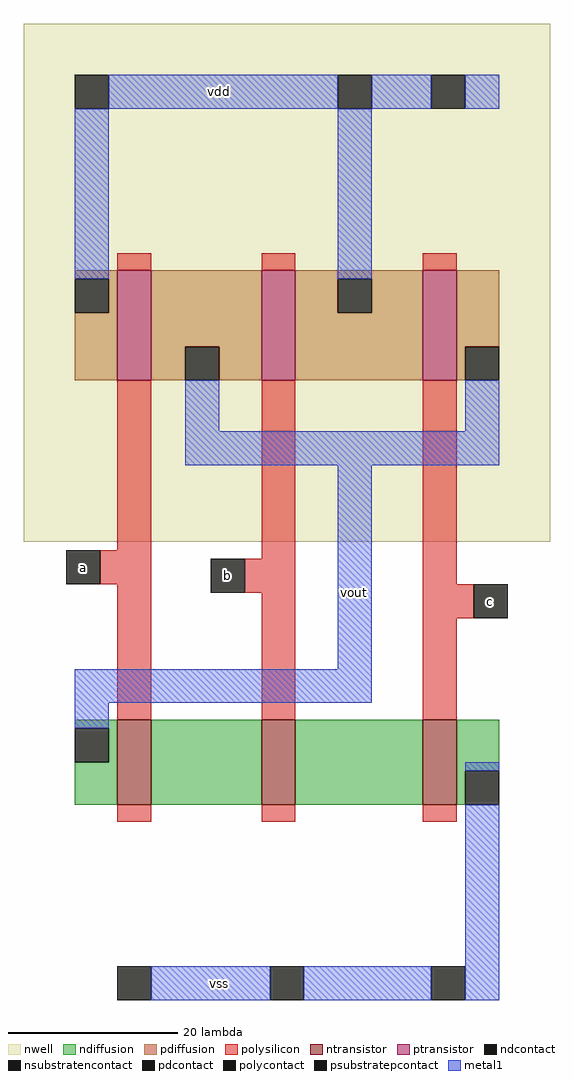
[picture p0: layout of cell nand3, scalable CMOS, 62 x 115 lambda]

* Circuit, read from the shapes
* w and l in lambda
.subckt nand3 a b c vdd vout vss
M1 n1 a vout vss nfet w=10 l=4
M2 n2 b n1 vss nfet w=10 l=4
M3 vss c n2 vss nfet w=10 l=4
M4 vout a vdd vdd pfet w=13 l=4
M5 vdd b vout vdd pfet w=13 l=4
M6 vout c vdd vdd pfet w=13 l=4
.ends

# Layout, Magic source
magic
tech scmos
<< nwell >>
rect -18 -19 44 42
<< polysilicon >>
rect -7 13 -3 15
rect 10 13 14 15
rect 29 13 33 15
rect -7 -20 -3 0
rect -9 -24 -3 -20
rect 10 -21 14 0
rect -7 -40 -3 -24
rect 8 -25 14 -21
rect 10 -40 14 -25
rect 29 -24 33 0
rect 29 -28 35 -24
rect 29 -40 33 -28
rect -7 -52 -3 -50
rect 10 -52 14 -50
rect 29 -52 33 -50
<< ndiffusion >>
rect -12 -41 -7 -40
rect -8 -45 -7 -41
rect -12 -50 -7 -45
rect -3 -50 10 -40
rect 14 -50 29 -40
rect 33 -46 38 -40
rect 33 -50 34 -46
<< pdiffusion >>
rect -12 12 -7 13
rect -8 8 -7 12
rect -12 0 -7 8
rect -3 4 10 13
rect -3 0 1 4
rect 5 0 10 4
rect 14 12 29 13
rect 14 8 19 12
rect 23 8 29 12
rect 14 0 29 8
rect 33 4 38 13
rect 33 0 34 4
<< metal1 >>
rect -8 32 19 36
rect 23 32 30 36
rect 34 32 38 36
rect -12 12 -8 32
rect 19 12 23 32
rect 1 -6 5 0
rect 34 -6 38 0
rect 1 -10 38 -6
rect 19 -34 23 -10
rect -12 -38 23 -34
rect -12 -41 -8 -38
rect 34 -46 38 -45
rect -3 -73 11 -69
rect 15 -73 30 -69
rect 34 -73 38 -50
<< ntransistor >>
rect -7 -50 -3 -40
rect 10 -50 14 -40
rect 29 -50 33 -40
<< ptransistor >>
rect -7 0 -3 13
rect 10 0 14 13
rect 29 0 33 13
<< polycontact >>
rect -13 -24 -9 -20
rect 4 -25 8 -21
rect 35 -28 39 -24
<< ndcontact >>
rect -12 -45 -8 -41
rect 34 -50 38 -46
<< pdcontact >>
rect -12 8 -8 12
rect 1 0 5 4
rect 19 8 23 12
rect 34 0 38 4
<< psubstratepcontact >>
rect -7 -73 -3 -69
rect 11 -73 15 -69
rect 30 -73 34 -69
<< nsubstratencontact >>
rect -12 32 -8 36
rect 19 32 23 36
rect 30 32 34 36
<< labels >>
rlabel metal1 5 34 5 34 1 vdd
rlabel polycontact -11 -22 -11 -22 1 a
rlabel polycontact 6 -23 6 -23 1 b
rlabel polycontact 37 -26 37 -26 1 c
rlabel metal1 5 -71 5 -71 1 vss
rlabel metal1 21 -25 21 -25 1 vout
<< end >>
